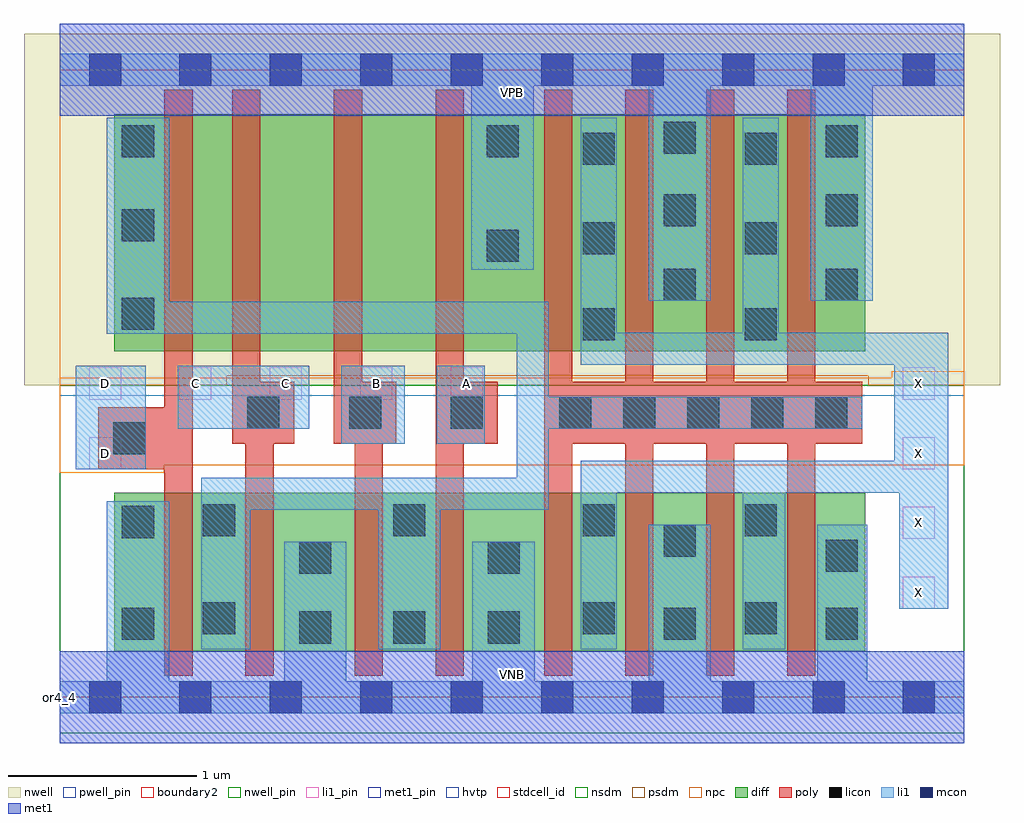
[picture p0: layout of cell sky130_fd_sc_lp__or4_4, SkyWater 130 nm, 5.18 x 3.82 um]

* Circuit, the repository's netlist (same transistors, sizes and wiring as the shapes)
* Copyright 2020 The SkyWater PDK Authors
*
* Licensed under the Apache License, Version 2.0 (the "License");
* you may not use this file except in compliance with the License.
* You may obtain a copy of the License at
*
*     https://www.apache.org/licenses/LICENSE-2.0
*
* Unless required by applicable law or agreed to in writing, software
* distributed under the License is distributed on an "AS IS" BASIS,
* WITHOUT WARRANTIES OR CONDITIONS OF ANY KIND, either express or implied.
* See the License for the specific language governing permissions and
* limitations under the License.
*
* SPDX-License-Identifier: Apache-2.0

.SUBCKT sky130_fd_sc_lp__or4_4 A B C D VGND VNB VPB VPWR X
*.PININFO A:I B:I C:I D:I VGND:I VNB:I VPB:I VPWR:I X:O
MMP0 VPWR A sndPA VPB sky130_fd_pr__pfet_01v8_hvt m=1 w=1.26U l=0.15U mult=1 sa=0.265
+ sb=0.265 sd=0.28 area=0.063 perim=1.14
MMP1 sndPA B sndPB VPB sky130_fd_pr__pfet_01v8_hvt m=1 w=1.26U l=0.15U mult=1 sa=0.265
+ sb=0.265 sd=0.28 area=0.063 perim=1.14
MMP2 sndPB C sndPC VPB sky130_fd_pr__pfet_01v8_hvt m=1 w=1.26U l=0.15U mult=1 sa=0.265
+ sb=0.265 sd=0.28 area=0.063 perim=1.14
MMP3 sndPC D y VPB sky130_fd_pr__pfet_01v8_hvt m=1 w=1.26U l=0.15U mult=1 sa=0.265
+ sb=0.265 sd=0.28 area=0.063 perim=1.14
MMIP4 X y VPWR VPB sky130_fd_pr__pfet_01v8_hvt m=4 w=1.26U l=0.15U mult=1 sa=0.265
+ sb=0.265 sd=0.28 area=0.063 perim=1.14
MMN0 y A VGND VNB sky130_fd_pr__nfet_01v8 m=1 w=0.84U l=0.15U mult=1 sa=0.265 sb=0.265
+ sd=0.28 area=0.063 perim=1.14
MMN1 y B VGND VNB sky130_fd_pr__nfet_01v8 m=1 w=0.84U l=0.15U mult=1 sa=0.265 sb=0.265
+ sd=0.28 area=0.063 perim=1.14
MMN2 y C VGND VNB sky130_fd_pr__nfet_01v8 m=1 w=0.84U l=0.15U mult=1 sa=0.265 sb=0.265
+ sd=0.28 area=0.063 perim=1.14
MMN3 y D VGND VNB sky130_fd_pr__nfet_01v8 m=1 w=0.84U l=0.15U mult=1 sa=0.265 sb=0.265
+ sd=0.28 area=0.063 perim=1.14
MMIN4 X y VGND VNB sky130_fd_pr__nfet_01v8 m=4 w=0.84U l=0.15U mult=1 sa=0.265
+ sb=0.265 sd=0.28 area=0.063 perim=1.14
.ENDS sky130_fd_sc_lp__or4_4

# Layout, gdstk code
import gdstk
lib = gdstk.Library(unit=1e-6, precision=1e-09)
def R(c, l, rs):  # rectangles x0, y0, x1, y1
    for r in rs: c.add(gdstk.rectangle(r[:2], r[2:], *l))
def A(c, l, x, y, w, h, nx, ny, dx, dy):  # array of equal rectangles
    R(c, l, [(x+i*dx, y+j*dy, x+i*dx+w, y+j*dy+h) for i in range(nx) for j in range(ny)])
def P(c, l, *ps):  # polygons
    for p in ps: c.add(gdstk.Polygon(p, *l))
nwell_pin = (64, 16)
nwell = (64, 20)
diff = (65, 20)
poly = (66, 20)
licon = (66, 44)
li1_pin = (67, 16)
li1 = (67, 20)
mcon = (67, 44)
met1_pin = (68, 16)
met1 = (68, 20)
hvtp = (78, 44)
stdcell_id = (81, 4)
nsdm = (93, 44)
psdm = (94, 20)
npc = (95, 20)
pwell_pin = (122, 16)
boundary2 = (236, 0)

sky130_fd_sc_lp__or4_4 = lib.new_cell('sky130_fd_sc_lp__or4_4')
R(sky130_fd_sc_lp__or4_4, nwell_pin, [(0,3.085,4.8,3.33)])
R(sky130_fd_sc_lp__or4_4, nwell, [(-0.19,1.655,4.99,3.52)])
R(sky130_fd_sc_lp__or4_4, diff, [(0.29,0.245,4.275,1.085), (0.29,1.835,4.275,3.095)])
P(sky130_fd_sc_lp__or4_4, poly, [(0.705,3.225),(0.555,3.225),(0.555,1.54),(0.205,1.54),(0.205,1.21),(0.555,1.21),(0.555,0.115),(0.705,0.115)],
  [(1.245,1.675),(1.065,1.675),(1.065,3.225),(0.915,3.225),(0.915,1.345),(0.985,1.345),(0.985,0.115),(1.135,0.115),(1.135,1.345),(1.245,1.345)],
  [(1.785,1.675),(1.605,1.675),(1.605,3.225),(1.455,3.225),(1.455,1.345),(1.565,1.345),(1.565,0.115),(1.715,0.115),(1.715,1.345),(1.785,1.345)],
  [(2.325,1.675),(2.145,1.675),(2.145,3.225),(1.995,3.225),(1.995,0.115),(2.145,0.115),(2.145,1.345),(2.325,1.345)],
  [(4.26,1.675),(4.01,1.675),(4.01,3.225),(3.86,3.225),(3.86,1.675),(3.58,1.675),(3.58,3.225),(3.43,3.225),(3.43,1.675),(3.15,1.675),(3.15,3.225),(3,3.225),(3,1.675),(2.72,1.675),(2.72,3.225),(2.57,3.225),(2.57,0.115),(2.72,0.115),(2.72,1.345),(3,1.345),(3,0.115),(3.15,0.115),(3.15,1.345),(3.43,1.345),(3.43,0.115),(3.58,0.115),(3.58,1.345),(3.86,1.345),(3.86,0.115),(4.01,0.115),(4.01,1.345),(4.26,1.345)])
A(sky130_fd_sc_lp__or4_4, licon, 1.27, 0.285, 0.17, 0.17, 3, 1, 0.5, 0)
A(sky130_fd_sc_lp__or4_4, licon, 0.995, 1.425, 0.17, 0.17, 3, 1, 0.54, 0)
A(sky130_fd_sc_lp__or4_4, licon, 2.65, 1.425, 0.17, 0.17, 5, 1, 0.34, 0)
R(sky130_fd_sc_lp__or4_4, licon, [(0.33,0.305,0.5,0.475), (3.205,0.305,3.375,0.475), (4.065,0.305,4.235,0.475), (0.76,0.335,0.93,0.505), (2.775,0.335,2.945,0.505), (3.635,0.335,3.805,0.505), (1.27,0.655,1.44,0.825), (2.27,0.655,2.44,0.825), (4.065,0.665,4.235,0.835), (3.205,0.745,3.375,0.915), (0.33,0.845,0.5,1.015), (0.76,0.855,0.93,1.025), (1.77,0.855,1.94,1.025), (2.775,0.855,2.945,1.025), (3.635,0.855,3.805,1.025), (0.285,1.29,0.455,1.46), (2.775,1.895,2.945,2.065), (3.635,1.895,3.805,2.065), (0.33,1.95,0.5,2.12), (3.205,2.105,3.375,2.275), (4.065,2.105,4.235,2.275), (2.265,2.31,2.435,2.48), (2.775,2.35,2.945,2.52), (3.635,2.35,3.805,2.52), (0.33,2.42,0.5,2.59), (3.205,2.5,3.375,2.67), (4.065,2.5,4.235,2.67), (2.775,2.825,2.945,2.995), (3.635,2.825,3.805,2.995), (0.33,2.865,0.5,3.035), (2.265,2.865,2.435,3.035), (4.065,2.865,4.235,3.035), (3.205,2.885,3.375,3.055)])
A(sky130_fd_sc_lp__or4_4, li1_pin, 4.475, 0.47, 0.17, 0.17, 1, 4, 0, 0.37)
A(sky130_fd_sc_lp__or4_4, li1_pin, 0.155, 1.58, 0.17, 0.17, 5, 1, 0.48, 0)
R(sky130_fd_sc_lp__or4_4, li1_pin, [(0.155,1.21,0.325,1.38)])
R(sky130_fd_sc_lp__or4_4, li1, [(0.085,1.21,0.455,1.76), (1.495,1.345,1.83,1.76), (2,1.345,2.255,1.76), (0.625,1.425,1.325,1.76)])
P(sky130_fd_sc_lp__or4_4, li1, [(3.125,2.105),(3.125,3.245),(2.515,3.245),(2.515,2.27),(2.185,2.27),(2.185,3.245),(0,3.245),(0,3.415),(4.8,3.415),(4.8,3.245),(4.315,3.245),(4.315,2.105),(3.985,2.105),(3.985,3.245),(3.455,3.245),(3.455,2.105)],
  [(2.19,0.085),(2.19,0.825),(2.52,0.825),(2.52,0.085),(3.125,0.085),(3.125,0.915),(3.455,0.915),(3.455,0.085),(4.02,0.085),(4.02,0.915),(4.285,0.915),(4.285,0.085),(4.8,0.085),(4.8,-0.085),(0,-0.085),(0,0.085),(0.25,0.085),(0.25,1.04),(0.58,1.04),(0.58,0.085),(1.19,0.085),(1.19,0.825),(1.52,0.825),(1.52,0.085)],
  [(2.425,1.165),(2.425,1.93),(0.25,1.93),(0.25,3.075),(0.58,3.075),(0.58,2.1),(2.595,2.1),(2.595,1.595),(4.26,1.595),(4.26,1.425),(2.595,1.425),(2.595,0.995),(2.02,0.995),(2.02,0.255),(1.69,0.255),(1.69,0.995),(1.01,0.995),(1.01,0.255),(0.75,0.255),(0.75,1.165)],
  [(2.955,1.935),(3.625,1.935),(3.625,3.075),(3.815,3.075),(3.815,1.935),(4.715,1.935),(4.715,0.47),(4.455,0.47),(4.455,1.085),(3.85,1.085),(3.85,0.255),(3.625,0.255),(3.625,1.085),(2.955,1.085),(2.955,0.255),(2.765,0.255),(2.765,1.255),(4.43,1.255),(4.43,1.765),(2.765,1.765),(2.765,3.075),(2.955,3.075)])
A(sky130_fd_sc_lp__or4_4, mcon, 0.155, -0.085, 0.17, 0.17, 10, 2, 0.48, 3.33)
R(sky130_fd_sc_lp__or4_4, met1_pin, [(0,0,4.8,0.245), (0,3.085,4.8,3.33)])
R(sky130_fd_sc_lp__or4_4, met1, [(0,-0.245,4.8,0.245), (0,3.085,4.8,3.575)])
R(sky130_fd_sc_lp__or4_4, hvtp, [(0,1.6,4.8,3.33)])
R(sky130_fd_sc_lp__or4_4, stdcell_id, [(0,0,4.8,3.33)])
R(sky130_fd_sc_lp__or4_4, nsdm, [(0,-0.19,4.8,1.655)])
P(sky130_fd_sc_lp__or4_4, psdm, [(4.8,3.52),(0,3.52),(0,1.655),(0.885,1.655),(0.885,1.705),(4.29,1.705),(4.29,1.655),(4.8,1.655)])
P(sky130_fd_sc_lp__or4_4, npc, [(4.8,1.73),(4.415,1.73),(4.415,1.695),(0,1.695),(0,1.19),(0.555,1.19),(0.555,1.23),(4.8,1.23)])
R(sky130_fd_sc_lp__or4_4, pwell_pin, [(0,0,4.8,0.245)])
R(sky130_fd_sc_lp__or4_4, boundary2, [(0,0,4.8,3.33)])
sky130_fd_sc_lp__or4_4.add(gdstk.Label('VNB', (2.4,0.123), layer=64, texttype=59))
sky130_fd_sc_lp__or4_4.add(gdstk.Label('VPB', (2.4,3.208), layer=64, texttype=5))
sky130_fd_sc_lp__or4_4.add(gdstk.Label('or4_4', (0,0), layer=83, texttype=44))
sky130_fd_sc_lp__or4_4.add(gdstk.Label('VPWR', (2.4,3.208), layer=68, texttype=5))
sky130_fd_sc_lp__or4_4.add(gdstk.Label('VGND', (2.4,0.123), layer=68, texttype=5))
sky130_fd_sc_lp__or4_4.add(gdstk.Label('A', (2.16,1.665), layer=67, texttype=5))
sky130_fd_sc_lp__or4_4.add(gdstk.Label('B', (1.68,1.665), layer=67, texttype=5))
sky130_fd_sc_lp__or4_4.add(gdstk.Label('C', (0.72,1.665), layer=67, texttype=5))
sky130_fd_sc_lp__or4_4.add(gdstk.Label('C', (1.2,1.665), layer=67, texttype=5))
sky130_fd_sc_lp__or4_4.add(gdstk.Label('X', (4.56,0.555), layer=67, texttype=5))
sky130_fd_sc_lp__or4_4.add(gdstk.Label('X', (4.56,0.925), layer=67, texttype=5))
sky130_fd_sc_lp__or4_4.add(gdstk.Label('X', (4.56,1.295), layer=67, texttype=5))
sky130_fd_sc_lp__or4_4.add(gdstk.Label('X', (4.56,1.665), layer=67, texttype=5))
sky130_fd_sc_lp__or4_4.add(gdstk.Label('D', (0.24,1.295), layer=67, texttype=5))
sky130_fd_sc_lp__or4_4.add(gdstk.Label('D', (0.24,1.665), layer=67, texttype=5))

lib.write_gds('sky130_fd_sc_lp__or4_4.gds')
